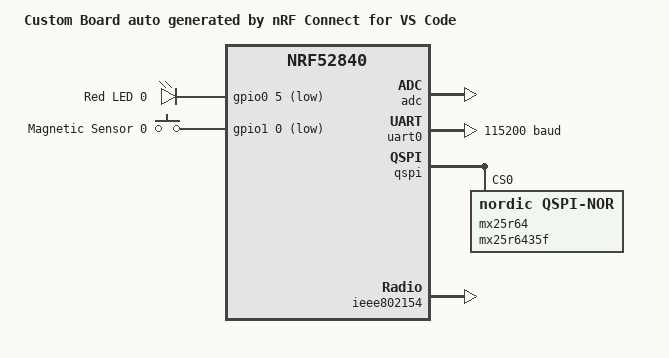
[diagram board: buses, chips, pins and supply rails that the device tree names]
/dts-v1/;
#include <nordic/nrf52840_qfaa.dtsi>
#include "Custom_001_nRF52840-pinctrl.dtsi"
#include <zephyr/dt-bindings/input/input-event-codes.h>

/ {
	model = "Custom Board auto generated by nRF Connect for VS Code";
	compatible = "ZRiver,custom-board-name";

	chosen {
		zephyr,sram = &sram0;
		zephyr,flash = &flash0;
		zephyr,code-partition = &slot0_partition;
		zephyr,console = &uart0;
		zephyr,shell-uart = &uart0;
		zephyr,uart-mcumgr = &uart0;
		zephyr,bt-mon-uart = &uart0;
		zephyr,bt-c2h-uart = &uart0;
		zephyr,ieee802154 = &ieee802154;
	};

	leds {
		compatible = "gpio-leds";
		led0: led_0 {
			gpios = <&gpio0 5 GPIO_ACTIVE_LOW>;
			label = "Red LED 0";
		};
	};

	buttons {
		compatible = "gpio-keys";
		button0: button_0 {
			gpios = <&gpio1 0 (GPIO_PULL_UP | GPIO_ACTIVE_LOW)>;
			label = "Magnetic Sensor 0";
			zephyr,code = <INPUT_KEY_0>;
		};
	};

	aliases {
		led0 = &led0;
		sw0 = &button0;
		// bootloader-led0 = &led0;
		// mcuboot-button0 = &button0;
		// mcuboot-led0 = &led0;
		watchdog0 = &wdt0;
	};
};

&reg1 {
	regulator-initial-mode = <NRF5X_REG_MODE_DCDC>;
};

&adc {
	status = "okay";
};

&uicr {
	gpio-as-nreset;
};

&gpiote {
	status = "okay";
};

&gpio0 {
	status = "okay";
	gpio-reserved-ranges = <0 5>, <6 1>, <13 1>, <15 2>, <25 7>;
	gpio-line-names =
	"",
	"",
	"",
	"",
	"", // ADC
	"LED",
	"",
	"SHT SCL",
	"SHT SDA",
	"NFC1",
	"NFC2",
	"MEMS SDA",
	"MEMS SCL",
	"",
	"UART TX",
	"",
	"",
	"UART RX",
	"RESET",
	"QSPI SCK",
	"QSPI DIO0",
	"QSPI DIO3",
	"QSPI CSN",
	"QSPI DIO1",
	"QSPI DIO2";
};

&gpio1 {
	status = "okay";
	gpio-reserved-ranges = <1 7>, <10 22>;
	gpio-line-names =
	"MAGNETIC",
	"",
	"",
	"",
	"",
	"",
	"",
	"",
	"MEMS INT1",
	"MEMS INT2";
};

&uart0 {
	compatible = "nordic,nrf-uarte";
	status = "okay";
	current-speed = <115200>;
	pinctrl-0 = <&uart0_default>;
	pinctrl-1 = <&uart0_sleep>;
	pinctrl-names = "default", "sleep";
    /delete-property/ hw-flow-control;
    /delete-property/ rts-pin;
    /delete-property/ cts-pin;
};

&i2c0 {
	compatible = "nordic,nrf-twi";
	pinctrl-0 = <&i2c0_default>;
	pinctrl-1 = <&i2c0_sleep>;
	pinctrl-names = "default", "sleep";
};

&i2c1 {
	compatible = "nordic,nrf-twi";
	/* Cannot be used together with spi1. */
	/* status = "okay"; */
	pinctrl-0 = <&i2c1_default>;
	pinctrl-1 = <&i2c1_sleep>;
	pinctrl-names = "default", "sleep";
};

&qspi {
	status = "okay";
	pinctrl-0 = <&qspi_default>;
	pinctrl-1 = <&qspi_sleep>;
	pinctrl-names = "default", "sleep";
	mx25r64: mx25r6435f@0 {
		compatible = "nordic,qspi-nor";
		reg = <0>;
		/* MX25R64 supports only pp and pp4io */
		writeoc = "pp4io";
		/* MX25R64 supports all readoc options */
		readoc = "read4io";
		sck-frequency = <8000000>;
		jedec-id = [c2 28 17];
		sfdp-bfp = [
			e5 20 f1 ff  ff ff ff 03  44 eb 08 6b  08 3b 04 bb
			ee ff ff ff  ff ff 00 ff  ff ff 00 ff  0c 20 0f 52
			10 d8 00 ff  23 72 f5 00  82 ed 04 cc  44 83 68 44
			30 b0 30 b0  f7 c4 d5 5c  00 be 29 ff  f0 d0 ff ff
		];
		size = <67108864>;
		has-dpd;
		t-enter-dpd = <10000>;
		t-exit-dpd = <35000>;
	};
};

&ieee802154 {
	status = "okay";
};

&flash0 {
	partitions {
		compatible = "fixed-partitions";
		#address-cells = <1>;
		#size-cells = <1>;

		boot_partition: partition@0 {
			label = "mcuboot";
			reg = <0x00000000 DT_SIZE_K(48)>;
		};

		slot0_partition: partition@c000 {
			label = "image-0";
			reg = <0x0000c000 DT_SIZE_K(472)>;
		};

		slot1_partition: partition@82000 {
			label = "image-1";
			reg = <0x00082000 DT_SIZE_K(472)>;
		};

		storage_partition: partition@f8000 {
			label = "storage";
			reg = <0x000f8000 DT_SIZE_K(32)>;
		};
	};
};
